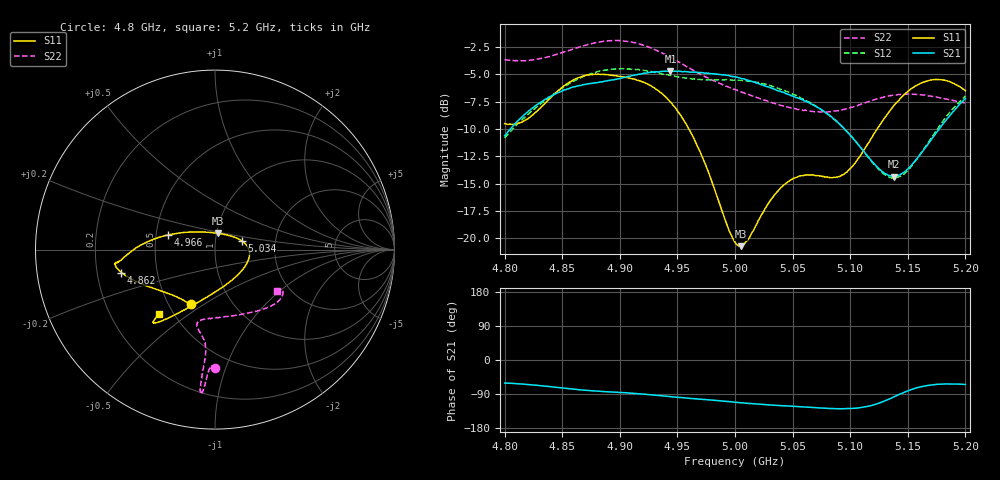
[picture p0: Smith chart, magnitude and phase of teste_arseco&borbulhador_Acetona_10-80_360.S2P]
! Network Analyzer HP8722D
! Hewlett-Packard
! Data name: Linha & Wilkinson
! Saver's name: Rodrigo Anjos
! Comments: Teste da utilização de aquisição
! continua pelo VNA HP8722D
! Time and date: 17/4/2025 17:21
!  Frequency  S11  S21  S12  S22
# HZ  S  MA R 50
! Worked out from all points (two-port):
!   401 points, 4.8 GHz to 5.2 GHz, reference 50 ohm
!   highest |S21| = -4.70 dB at 4.944 GHz (marker M1); lowest = -14.4 dB at 5.138 GHz (marker M2)
!   |S21| within 3 dB of the highest: 4.829 GHz to 5.066 GHz (236.5 MHz wide, 4.78 % of centre); 5.195297 GHz to end of sweep
!   lowest |S11| = -20.7 dB at 5.005 GHz (marker M3), VSWR 1.20, Z = 50.6 + j9.26 ohm
!   |S11| at or under -10 dB: 4.96 GHz to 5.123 GHz (163.4 MHz wide, 3.24 % of centre)
!   |S22| runs from -8.5 to -1.9 dB; largest |S21 - S12| = 0.87
!   S11 on the Smith chart (normalised r, x): 4.8 GHz: 0.64, -0.44; 4.862 GHz: 0.30, -0.11; 4.966 GHz: 0.58, +0.10; 5.034 GHz: 1.34, +0.14; 5.2 GHz: 0.42, -0.39
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4.8e9  0.3345 -114.0  0.2942 -60.9  0.2879 -175.1  0.6573 -90.2
4.819e9  0.3494 -133.9  0.3747 -64.4  0.3626 -174.0  0.6515 -91.8
4.862e9  0.5383 -166.3  0.495 -77.6  0.5293 -177.2  0.7421 -94.1
4.867e9  0.5494 -168.3  0.5013 -79.1  0.5449 -178.4  0.756 -94.2
4.9e9  0.5505 -172.6  0.5376 -85.8  0.5954 175.2  0.8025 -95.6
4.934e9  0.4709 -178.4  0.5761 -93.9  0.571 171.5  0.7146 -96.0
4.944e9  0.4204 177.1  0.5821 -96.7  0.5557 171.6  0.6733 -95.7
4.966e9  0.274 162.7  0.5755 -102.4  0.5355 173.4  0.5784 -95.1
5e9  0.09552 99.5  0.5477 -111.5  0.5303 175.9  0.4791 -99.2
5.005e9  0.09184 81.0  0.5388 -112.9  0.5273 175.8  0.4669 -100.2
5.012e9  0.09958 57.7  0.5273 -114.6  0.5222 175.7  0.4542 -101.8
5.034e9  0.1572 18.3  0.481 -119.5  0.4927 174.6  0.4153 -103.4
5.049e9  0.1852 3.0  0.4482 -121.8  0.4602 173.9  0.3944 -99.6
5.067e9  0.1949 -16.3  0.4099 -125.0  0.4127 173.5  0.3803 -90.4
5.085e9  0.1894 -44.7  0.3535 -128.4  0.3535 173.5  0.3813 -76.7
5.097e9  0.2002 -68.9  0.3082 -128.5  0.3085 174.7  0.3914 -66.9
5.123e9  0.3141 -108.7  0.2127 -116.0  0.2112 -170.5  0.4342 -48.5
5.134e9  0.3806 -117.4  0.1935 -102.9  0.19 -155.7  0.4482 -43.1
5.138e9  0.4056 -119.6  0.1913 -97.3  0.1882 -149.4  0.4515 -41.2
5.151e9  0.4736 -125.2  0.2099 -80.4  0.2072 -129.7  0.457 -36.5
5.17e9  0.5296 -129.5  0.28 -66.1  0.2859 -112.2  0.447 -32.1
5.2e9  0.4724 -130.9  0.4352 -64.7  0.4478 -106.8  0.4157 -33.6
